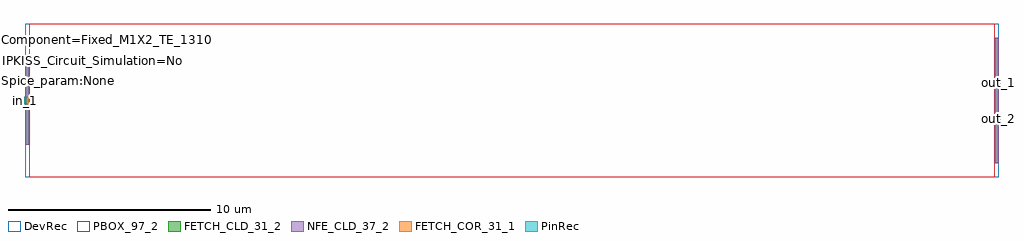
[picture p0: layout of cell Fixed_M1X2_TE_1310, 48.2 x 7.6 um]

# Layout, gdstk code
import gdstk
lib = gdstk.Library(unit=1e-6, precision=1e-09)
def R(c, l, rs):  # rectangles x0, y0, x1, y1
    for r in rs: c.add(gdstk.rectangle(r[:2], r[2:], *l))
FETCH_COR_31_1 = (31, 1)
FETCH_CLD_31_2 = (31, 2)
NFE_CLD_37_2 = (37, 2)
PinRec = (95, 0)
PBOX_97_2 = (97, 2)
DevRec = (1001, 0)

fixed_m1x2_te_1310 = lib.new_cell('Fixed_M1X2_TE_1310')
R(fixed_m1x2_te_1310, FETCH_COR_31_1, [(47.9,-1.09,48.1,-0.71), (0,-0.19,0.2,0.19), (47.9,0.71,48.1,1.09)])
R(fixed_m1x2_te_1310, FETCH_CLD_31_2, [(47.9,-3.09,48.1,1.29), (0,-2.19,0.2,2.19), (47.9,-1.29,48.1,3.09)])
R(fixed_m1x2_te_1310, NFE_CLD_37_2, [(47.9,-3.09,48.1,1.29), (0,-2.19,0.2,2.19), (47.9,-1.29,48.1,3.09)])
R(fixed_m1x2_te_1310, PBOX_97_2, [(0.2,-3.8,47.9,3.8)])
R(fixed_m1x2_te_1310, DevRec, [(0,-3.8,48.1,3.8)])
fixed_m1x2_te_1310.add(gdstk.FlexPath([(0.05,0),(-0.05,0)], 0.38, ends="flush", simple_path=True, layer=95, datatype=0))  # PinRec
fixed_m1x2_te_1310.add(gdstk.FlexPath([(48.05,0.9),(48.15,0.9)], 0.38, ends="flush", simple_path=True, layer=95, datatype=0))  # PinRec
fixed_m1x2_te_1310.add(gdstk.FlexPath([(48.05,-0.9),(48.15,-0.9)], 0.38, ends="flush", simple_path=True, layer=95, datatype=0))  # PinRec
fixed_m1x2_te_1310.add(gdstk.Label('in_1', (0,0), layer=95, texttype=0))
fixed_m1x2_te_1310.add(gdstk.Label('out_1', (48.1,0.9), layer=95, texttype=0))
fixed_m1x2_te_1310.add(gdstk.Label('out_2', (48.1,-0.9), layer=95, texttype=0))
fixed_m1x2_te_1310.add(gdstk.Label('Version:CSiP130N_1.0.0', (1.2,0), layer=1001, texttype=0))
fixed_m1x2_te_1310.add(gdstk.Label('IPKISS_Circuit_Simulation=None', (1.2,2), layer=1001, texttype=0))
fixed_m1x2_te_1310.add(gdstk.Label('Component=Fixed_M1X2_TE_1310', (1.2,3), layer=1001, texttype=0))
fixed_m1x2_te_1310.add(gdstk.Label('Spice_param:None', (1.2,1), layer=1001, texttype=0))

lib.write_gds('Fixed_M1X2_TE_1310.gds')
